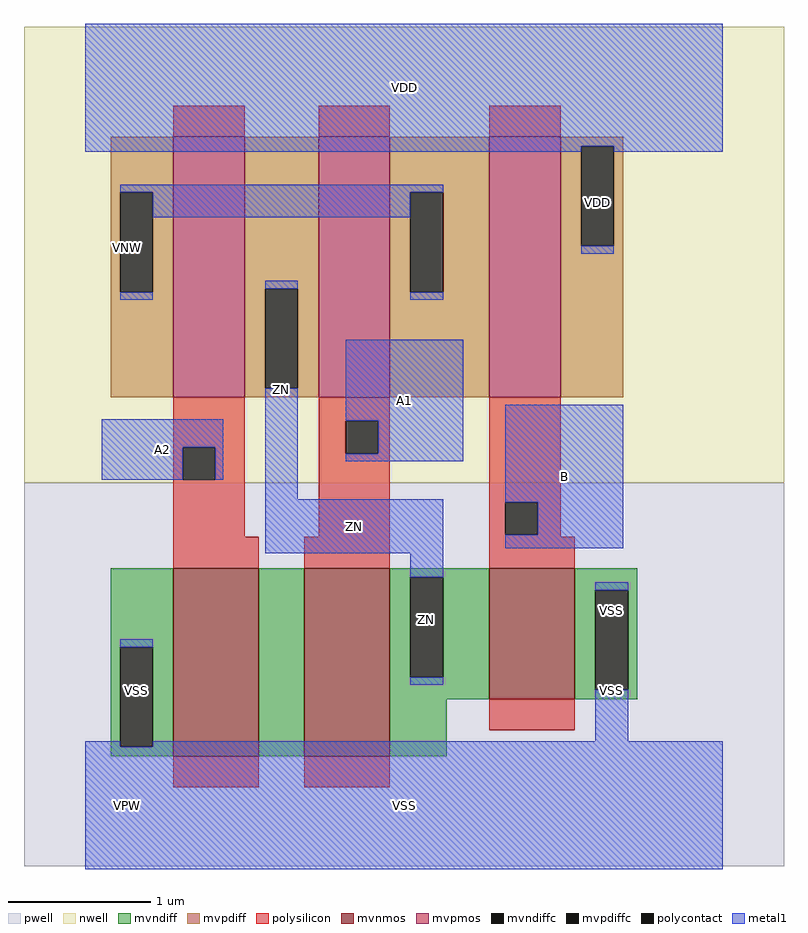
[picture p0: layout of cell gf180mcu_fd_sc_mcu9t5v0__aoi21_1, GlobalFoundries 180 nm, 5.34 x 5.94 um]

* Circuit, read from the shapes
.subckt gf180mcu_fd_sc_mcu9t5v0__aoi21_1 A1 A2 B ZN VDD VNW VPW VSS
XM1 n1 A2 VSS VPW nfet_06v0 w=1.32u l=0.6u
XM2 ZN A1 n1 VPW nfet_06v0 w=1.32u l=0.6u
XM3 VSS B ZN VPW nfet_06v0 w=0.92u l=0.6u
XM4 ZN A2 n2 VNW pfet_06v0 w=1.83u l=0.5u
XM5 n2 A1 ZN VNW pfet_06v0 w=1.83u l=0.5u
XM6 VDD B n2 VNW pfet_06v0 w=1.83u l=0.5u
.ends

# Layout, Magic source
magic
tech gf180mcuD
magscale 1 10
<< nwell >>
rect -86 453 982 1094
<< pwell >>
rect -86 -86 982 453
<< mvnmos >>
rect 124 69 244 333
rect 308 69 428 333
rect 568 149 688 333
<< mvpmos >>
rect 124 573 224 939
rect 328 573 428 939
rect 568 573 668 939
<< mvndiff >>
rect 36 222 124 333
rect 36 82 49 222
rect 95 82 124 222
rect 36 69 124 82
rect 244 69 308 333
rect 428 320 568 333
rect 428 180 457 320
rect 503 180 568 320
rect 428 149 568 180
rect 688 302 776 333
rect 688 162 717 302
rect 763 162 776 302
rect 688 149 776 162
rect 428 69 508 149
<< mvpdiff >>
rect 36 861 124 939
rect 36 721 49 861
rect 95 721 124 861
rect 36 573 124 721
rect 224 726 328 939
rect 224 586 253 726
rect 299 586 328 726
rect 224 573 328 586
rect 428 861 568 939
rect 428 721 457 861
rect 503 721 568 861
rect 428 573 568 721
rect 668 926 756 939
rect 668 786 697 926
rect 743 786 756 926
rect 668 573 756 786
<< mvndiffc >>
rect 49 82 95 222
rect 457 180 503 320
rect 717 162 763 302
<< mvpdiffc >>
rect 49 721 95 861
rect 253 586 299 726
rect 457 721 503 861
rect 697 786 743 926
<< polysilicon >>
rect 124 939 224 983
rect 328 939 428 983
rect 568 939 668 983
rect 124 503 224 573
rect 124 457 137 503
rect 183 457 224 503
rect 124 377 224 457
rect 328 540 428 573
rect 328 494 366 540
rect 412 494 428 540
rect 328 377 428 494
rect 124 333 244 377
rect 308 333 428 377
rect 568 426 668 573
rect 568 380 590 426
rect 636 380 668 426
rect 568 377 668 380
rect 568 333 688 377
rect 568 105 688 149
rect 124 25 244 69
rect 308 25 428 69
<< polycontact >>
rect 137 457 183 503
rect 366 494 412 540
rect 590 380 636 426
<< metal1 >>
rect 0 926 896 1098
rect 0 918 697 926
rect 49 861 503 872
rect 95 826 457 861
rect 49 710 95 721
rect 253 726 299 737
rect 743 918 896 926
rect 697 775 743 786
rect 457 710 503 721
rect 23 503 194 542
rect 23 457 137 503
rect 183 457 194 503
rect 253 430 299 586
rect 366 540 531 654
rect 412 494 531 540
rect 366 483 531 494
rect 253 354 503 430
rect 590 426 756 563
rect 636 380 756 426
rect 590 361 756 380
rect 457 320 503 354
rect 49 222 95 233
rect 0 82 49 90
rect 457 169 503 180
rect 717 302 763 313
rect 717 90 763 162
rect 95 82 896 90
rect 0 -90 896 82
<< labels >>
flabel metal1 s 366 483 531 654 0 FreeSans 200 0 0 0 A1
port 1 nsew default input
flabel metal1 s 23 457 194 542 0 FreeSans 200 0 0 0 A2
port 2 nsew default input
flabel metal1 s 590 361 756 563 0 FreeSans 200 0 0 0 B
port 3 nsew default input
flabel metal1 s 0 918 896 1098 0 FreeSans 200 0 0 0 VDD
port 5 nsew power bidirectional abutment
flabel metal1 s 717 233 763 313 0 FreeSans 200 0 0 0 VSS
port 8 nsew ground bidirectional abutment
flabel metal1 s 253 430 299 737 0 FreeSans 200 0 0 0 ZN
port 4 nsew default output
flabel nwell s 10 734 110 834 0 FreeSans 400 0 0 0 VNW
port 6 nsew power bidirectional
flabel pwell s 10 -50 110 50 0 FreeSans 400 0 0 0 VPW
port 7 nsew ground bidirectional
rlabel metal1 s 253 354 503 430 1 ZN
port 4 nsew default output
rlabel metal1 s 457 169 503 354 1 ZN
port 4 nsew default output
rlabel metal1 s 697 775 743 918 1 VDD
port 5 nsew power bidirectional abutment
rlabel metal1 s 717 90 763 233 1 VSS
port 8 nsew ground bidirectional abutment
rlabel metal1 s 49 90 95 233 1 VSS
port 8 nsew ground bidirectional abutment
rlabel metal1 s 0 -90 896 90 1 VSS
port 8 nsew ground bidirectional abutment
<< properties >>
string FIXED_BBOX 0 0 896 1008
string GDS_END 1170320
string GDS_FILE $PDKPATH/libs.ref/gf180mcu_fd_sc_mcu9t5v0/gds/gf180mcu_fd_sc_mcu9t5v0.gds
string GDS_START 1166958
string LEFclass core
string LEFsite GF018hv5v_green_sc9
string LEFsymmetry X Y
<< end >>
